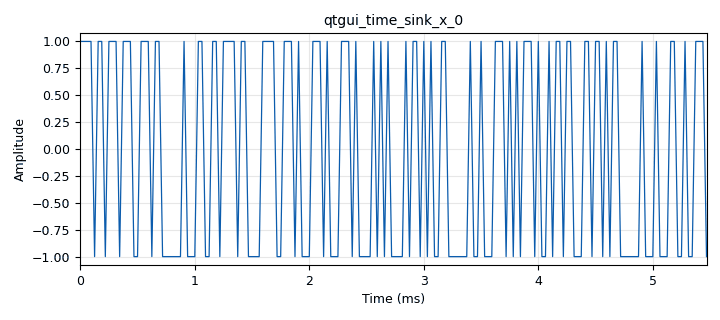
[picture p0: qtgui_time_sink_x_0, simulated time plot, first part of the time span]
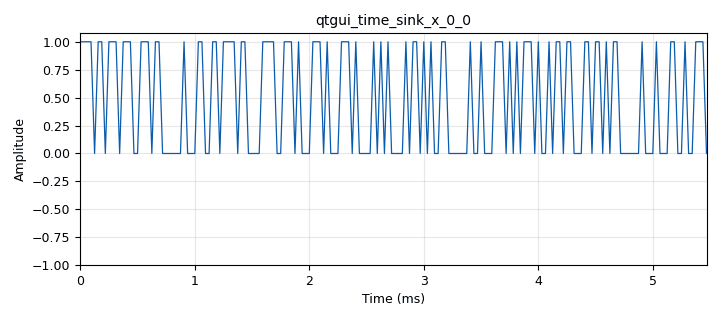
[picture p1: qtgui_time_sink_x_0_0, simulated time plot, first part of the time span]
options:
  parameters:
    generate_options: qt_gui
    id: lab06_pam001
    output_language: python
    title: lab06_pam001
  states: {}

blocks:
- name: gain
  id: variable_qtgui_range
  parameters:
    orient: Qt.Horizontal
    start: '0'
    step: '0.1'
    stop: '2'
    value: '1'
  states: {}
- name: samp_rate
  id: variable
  parameters:
    value: '32000'
  states: {}
- name: sym_dly
  id: variable_qtgui_range
  parameters:
    orient: Qt.Horizontal
    start: '0'
    step: '1'
    stop: '16'
    value: '0'
  states: {}
- name: blocks_add_const_vxx_0
  id: blocks_add_const_vxx
  parameters:
    const: '-1'
    type: float
  states: {}
- name: blocks_char_to_float_0
  id: blocks_char_to_float
  parameters:
    scale: '0.5'
  states: {}
- name: blocks_char_to_float_1
  id: blocks_char_to_float
  parameters:
    scale: '1'
  states: {}
- name: blocks_delay_0
  id: blocks_delay
  parameters:
    delay: sym_dly
    type: byte
  states: {}
- name: blocks_file_sink_0
  id: blocks_file_sink
  parameters:
    file: /dev/pts/0
    type: byte
  states: {}
- name: blocks_multiply_const_vxx_0
  id: blocks_multiply_const_vxx
  parameters:
    const: gain
    type: float
  states: {}
- name: blocks_packed_to_unpacked_xx_0
  id: blocks_packed_to_unpacked_xx
  parameters:
    bits_per_chunk: '1'
    endianness: gr.GR_LSB_FIRST
    type: byte
  states: {}
- name: blocks_throttle_0
  id: blocks_throttle
  parameters:
    samples_per_second: samp_rate
    type: byte
  states: {}
- name: blocks_unpacked_to_packed_xx_0
  id: blocks_unpacked_to_packed_xx
  parameters:
    bits_per_chunk: '1'
    endianness: gr.GR_LSB_FIRST
    type: byte
  states: {}
- name: blocks_vector_source_x_0
  id: blocks_vector_source_x
  parameters:
    repeat: 'True'
    type: byte
    vector: list(ord(i) for i in 'The quick brown fox...')
  states: {}
- name: digital_binary_slicer_fb_0
  id: digital_binary_slicer_fb
  parameters: {}
  states: {}
- name: qtgui_time_sink_x_0
  id: qtgui_time_sink_x
  parameters:
    size: '1024'
    srate: samp_rate
    type: float
  states: {}
- name: qtgui_time_sink_x_0_0
  id: qtgui_time_sink_x
  parameters:
    size: '1024'
    srate: samp_rate
    type: float
  states: {}

connections:
- [blocks_add_const_vxx_0, '0', blocks_multiply_const_vxx_0, '0']
- [blocks_char_to_float_0, '0', blocks_add_const_vxx_0, '0']
- [blocks_char_to_float_1, '0', qtgui_time_sink_x_0_0, '0']
- [blocks_delay_0, '0', blocks_char_to_float_1, '0']
- [blocks_delay_0, '0', blocks_unpacked_to_packed_xx_0, '0']
- [blocks_multiply_const_vxx_0, '0', digital_binary_slicer_fb_0, '0']
- [blocks_multiply_const_vxx_0, '0', qtgui_time_sink_x_0, '0']
- [blocks_packed_to_unpacked_xx_0, '0', blocks_throttle_0, '0']
- [blocks_throttle_0, '0', blocks_char_to_float_0, '0']
- [blocks_unpacked_to_packed_xx_0, '0', blocks_file_sink_0, '0']
- [blocks_vector_source_x_0, '0', blocks_packed_to_unpacked_xx_0, '0']
- [digital_binary_slicer_fb_0, '0', blocks_delay_0, '0']

metadata:
  file_format: 1
